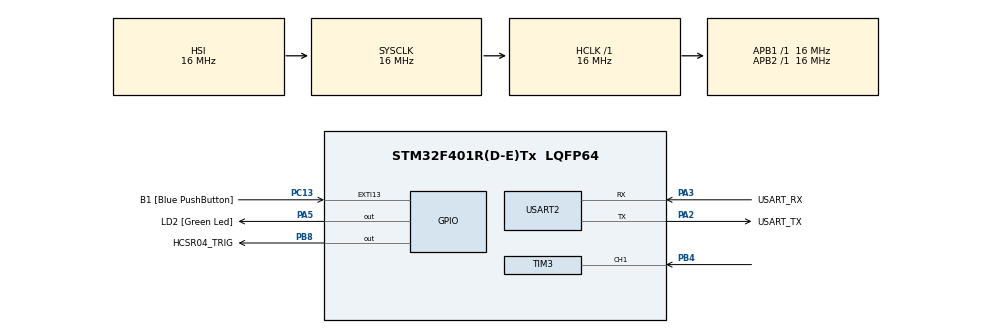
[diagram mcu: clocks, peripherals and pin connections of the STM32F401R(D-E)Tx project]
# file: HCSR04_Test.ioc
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Mcu.Family=STM32F4
Mcu.Name=STM32F401R(D-E)Tx
Mcu.Package=LQFP64
NVIC.PriorityGroup=NVIC_PRIORITYGROUP_4
NVIC.TIM3_IRQn=true\:0\:0\:false\:false\:true\:true\:true\:true
PA13.GPIO_Label=TMS
PA13.Mode=Trace_Asynchronous_SW
PA13.Signal=SYS_JTMS-SWDIO
PA14.GPIO_Label=TCK
PA14.Mode=Trace_Asynchronous_SW
PA14.Signal=SYS_JTCK-SWCLK
PA2.GPIO_Label=USART_TX
PA2.GPIO_Mode=GPIO_MODE_AF_PP
PA2.GPIO_PuPd=GPIO_NOPULL
PA2.GPIO_Speed=GPIO_SPEED_FREQ_LOW
PA2.Mode=Asynchronous
PA2.Signal=USART2_TX
PA3.GPIO_Label=USART_RX
PA3.GPIO_Mode=GPIO_MODE_AF_PP
PA3.GPIO_PuPd=GPIO_NOPULL
PA3.GPIO_Speed=GPIO_SPEED_FREQ_LOW
PA3.Mode=Asynchronous
PA3.Signal=USART2_RX
PA5.GPIO_Label=LD2 [Green Led]
PA5.GPIO_Mode=GPIO_MODE_OUTPUT_PP
PA5.GPIO_PuPd=GPIO_NOPULL
PA5.GPIO_Speed=GPIO_SPEED_FREQ_LOW
PA5.Signal=GPIO_Output
PB3.GPIO_Label=SWO
PB3.Mode=Trace_Asynchronous_SW
PB3.Signal=SYS_JTDO-SWO
PB4.Signal=S_TIM3_CH1
PB8.GPIO_Label=HCSR04_TRIG
PB8.Signal=GPIO_Output
PC13-ANTI_TAMP.GPIO_Label=B1 [Blue PushButton]
PC13-ANTI_TAMP.GPIO_ModeDefaultEXTI=GPIO_MODE_IT_FALLING
PC13-ANTI_TAMP.GPIO_PuPd=GPIO_NOPULL
PC13-ANTI_TAMP.Signal=GPXTI13
PC14-OSC32_IN.Mode=LSE-External-Oscillator
PC14-OSC32_IN.Signal=RCC_OSC32_IN
PC15-OSC32_OUT.Mode=LSE-External-Oscillator
PC15-OSC32_OUT.Signal=RCC_OSC32_OUT
PH0\ -\ OSC_IN.Mode=HSE-External-Clock-Source
PH0\ -\ OSC_IN.Signal=RCC_OSC_IN
PH1\ -\ OSC_OUT.Mode=HSE-External-Clock-Source
PH1\ -\ OSC_OUT.Signal=RCC_OSC_OUT
ProjectManager.HeapSize=0x200
ProjectManager.StackSize=0x400
ProjectManager.TargetToolchain=STM32CubeIDE
RCC.48MHZClocksFreq_Value=48000000
RCC.AHBFreq_Value=16000000
RCC.APB1Freq_Value=16000000
RCC.APB1TimFreq_Value=16000000
RCC.APB2Freq_Value=16000000
RCC.APB2TimFreq_Value=16000000
RCC.CortexFreq_Value=16000000
RCC.HCLKFreq_Value=16000000
RCC.HSE_VALUE=8000000
RCC.HSI_VALUE=16000000
RCC.PLLN=336
RCC.PLLP=RCC_PLLP_DIV4
RCC.PLLQ=7
RCC.SYSCLKFreq_VALUE=16000000
RCC.VCOOutputFreq_Value=336000000
SH.S_TIM3_CH1.0=TIM3_CH1,Input_Capture1_from_TI1
TIM3.Channel-Input_Capture1_from_TI1=TIM_CHANNEL_1
TIM3.ICPolarity_CH1=TIM_INPUTCHANNELPOLARITY_BOTHEDGE
TIM3.Period=65535-1
TIM3.Prescaler=16-1
USART2.VirtualMode=VM_ASYNC
VP_TIM3_VS_ClockSourceINT.Mode=Internal
board=NUCLEO-F401RE

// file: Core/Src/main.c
/* USER CODE BEGIN Header */
/**
  ******************************************************************************
  * @file           : main.c
  * @brief          : Main program body
  ******************************************************************************
  * @attention
  *
  * Copyright (c) 2025 STMicroelectronics.
  * All rights reserved.
  *
  * This software is licensed under terms that can be found in the LICENSE file
  * in the root directory of this software component.
  * If no LICENSE file comes with this software, it is provided AS-IS.
  *
  ******************************************************************************
  */
/* USER CODE END Header */
#include "main.h"

TIM_HandleTypeDef htim3;

UART_HandleTypeDef huart2;

void SystemClock_Config(void);
static void MX_GPIO_Init(void);
static void MX_USART2_UART_Init(void);
static void MX_TIM3_Init(void);

/* USER CODE BEGIN 0 */
volatile uint8_t hcsr04_Rx_flag = 0;
volatile uint8_t first_edge = 0;
volatile uint16_t time_edge1 = 0;
volatile uint16_t time_edge2 = 0;

/* USER CODE END 0 */

int main(void)
{

  /* USER CODE BEGIN 1 */

uint16_t time_diff = 0;
uint16_t distance = 0;
uint8_t txd_msg_buffer[64] = {0};

void HCSR04_TRIG_PULSE(void) {
	HAL_GPIO_WritePin(HCSR04_TRIG_GPIO_Port, HCSR04_TRIG_Pin, GPIO_PIN_SET);
	for (int i = 0; i != 15; i = i + 1) {};
	HAL_GPIO_WritePin(HCSR04_TRIG_GPIO_Port, HCSR04_TRIG_Pin, GPIO_PIN_RESET);
}

  /* USER CODE END 1 */

  /* MCU Configuration--------------------------------------------------------*/

  /* Reset of all peripherals, Initializes the Flash interface and the Systick. */
  HAL_Init();

  /* Configure the system clock */
  SystemClock_Config();

  /* Initialize all configured peripherals */
  MX_GPIO_Init();
  MX_USART2_UART_Init();
  MX_TIM3_Init();
  /* USER CODE BEGIN 2 */
  HAL_TIM_Base_Init(&htim3);
  HAL_TIM_Base_Start(&htim3);
  HAL_TIM_IC_Start_IT(&htim3, TIM_CHANNEL_1);

  /* USER CODE END 2 */

  /* Infinite loop */
  /* USER CODE BEGIN WHILE */
  while (1)
  {
	  hcsr04_Rx_flag = 0;
	  first_edge = 0;
	  time_edge1 = 0;
	  time_edge2 = 0;
	  time_diff = 0;
	  distance = 0;

	  HCSR04_TRIG_PULSE();

	  while (hcsr04_Rx_flag == 0) {};

	  time_diff = time_edge2 - time_edge1;

	  sprintf((char*)txd_msg_buffer, "Pulse Width (usec): %d \r\n", time_diff);
	  HAL_UART_Transmit(&huart2, txd_msg_buffer, strlen((char*)txd_msg_buffer), 100);

	  distance = time_diff/58;

	  sprintf((char*)txd_msg_buffer, "DISTANCE TO OBJECT: %d \r\n", distance);
	  HAL_UART_Transmit(&huart2, txd_msg_buffer, strlen((char*)txd_msg_buffer), 100);

	  HAL_Delay(100);
    /* USER CODE END WHILE */

  }
}

void SystemClock_Config(void)
{
  RCC_OscInitTypeDef RCC_OscInitStruct = {0};
  RCC_ClkInitTypeDef RCC_ClkInitStruct = {0};

  /** Configure the main internal regulator output voltage
  */
  __HAL_RCC_PWR_CLK_ENABLE();
  __HAL_PWR_VOLTAGESCALING_CONFIG(PWR_REGULATOR_VOLTAGE_SCALE2);

  /** Initializes the RCC Oscillators according to the specified parameters
  * in the RCC_OscInitTypeDef structure.
  */
  RCC_OscInitStruct.OscillatorType = RCC_OSCILLATORTYPE_HSI;
  RCC_OscInitStruct.HSIState = RCC_HSI_ON;
  RCC_OscInitStruct.HSICalibrationValue = RCC_HSICALIBRATION_DEFAULT;
  RCC_OscInitStruct.PLL.PLLState = RCC_PLL_NONE;
  if (HAL_RCC_OscConfig(&RCC_OscInitStruct) != HAL_OK)
  {
    Error_Handler();
  }

  /** Initializes the CPU, AHB and APB buses clocks
  */
  RCC_ClkInitStruct.ClockType = RCC_CLOCKTYPE_HCLK|RCC_CLOCKTYPE_SYSCLK
                              |RCC_CLOCKTYPE_PCLK1|RCC_CLOCKTYPE_PCLK2;
  RCC_ClkInitStruct.SYSCLKSource = RCC_SYSCLKSOURCE_HSI;
  RCC_ClkInitStruct.AHBCLKDivider = RCC_SYSCLK_DIV1;
  RCC_ClkInitStruct.APB1CLKDivider = RCC_HCLK_DIV1;
  RCC_ClkInitStruct.APB2CLKDivider = RCC_HCLK_DIV1;

  if (HAL_RCC_ClockConfig(&RCC_ClkInitStruct, FLASH_LATENCY_0) != HAL_OK)
  {
    Error_Handler();
  }
}

static void MX_TIM3_Init(void)
{

  TIM_ClockConfigTypeDef sClockSourceConfig = {0};
  TIM_MasterConfigTypeDef sMasterConfig = {0};
  TIM_IC_InitTypeDef sConfigIC = {0};

  htim3.Instance = TIM3;
  htim3.Init.Prescaler = 16-1;
  htim3.Init.CounterMode = TIM_COUNTERMODE_UP;
  htim3.Init.Period = 65535-1;
  htim3.Init.ClockDivision = TIM_CLOCKDIVISION_DIV1;
  htim3.Init.AutoReloadPreload = TIM_AUTORELOAD_PRELOAD_DISABLE;
  if (HAL_TIM_Base_Init(&htim3) != HAL_OK)
  {
    Error_Handler();
  }
  sClockSourceConfig.ClockSource = TIM_CLOCKSOURCE_INTERNAL;
  if (HAL_TIM_ConfigClockSource(&htim3, &sClockSourceConfig) != HAL_OK)
  {
    Error_Handler();
  }
  if (HAL_TIM_IC_Init(&htim3) != HAL_OK)
  {
    Error_Handler();
  }
  sMasterConfig.MasterOutputTrigger = TIM_TRGO_RESET;
  sMasterConfig.MasterSlaveMode = TIM_MASTERSLAVEMODE_DISABLE;
  if (HAL_TIMEx_MasterConfigSynchronization(&htim3, &sMasterConfig) != HAL_OK)
  {
    Error_Handler();
  }
  sConfigIC.ICPolarity = TIM_INPUTCHANNELPOLARITY_BOTHEDGE;
  sConfigIC.ICSelection = TIM_ICSELECTION_DIRECTTI;
  sConfigIC.ICPrescaler = TIM_ICPSC_DIV1;
  sConfigIC.ICFilter = 0;
  if (HAL_TIM_IC_ConfigChannel(&htim3, &sConfigIC, TIM_CHANNEL_1) != HAL_OK)
  {
    Error_Handler();
  }

}

static void MX_USART2_UART_Init(void)
{

  huart2.Instance = USART2;
  huart2.Init.BaudRate = 115200;
  huart2.Init.WordLength = UART_WORDLENGTH_8B;
  huart2.Init.StopBits = UART_STOPBITS_1;
  huart2.Init.Parity = UART_PARITY_NONE;
  huart2.Init.Mode = UART_MODE_TX_RX;
  huart2.Init.HwFlowCtl = UART_HWCONTROL_NONE;
  huart2.Init.OverSampling = UART_OVERSAMPLING_16;
  if (HAL_UART_Init(&huart2) != HAL_OK)
  {
    Error_Handler();
  }

}

static void MX_GPIO_Init(void)
{
  GPIO_InitTypeDef GPIO_InitStruct = {0};

  /* GPIO Ports Clock Enable */
  __HAL_RCC_GPIOC_CLK_ENABLE();
  __HAL_RCC_GPIOH_CLK_ENABLE();
  __HAL_RCC_GPIOA_CLK_ENABLE();
  __HAL_RCC_GPIOB_CLK_ENABLE();

  /*Configure GPIO pin Output Level */
  HAL_GPIO_WritePin(LD2_GPIO_Port, LD2_Pin, GPIO_PIN_RESET);

  /*Configure GPIO pin Output Level */
  HAL_GPIO_WritePin(HCSR04_TRIG_GPIO_Port, HCSR04_TRIG_Pin, GPIO_PIN_RESET);

  /*Configure GPIO pin : B1_Pin */
  GPIO_InitStruct.Pin = B1_Pin;
  GPIO_InitStruct.Mode = GPIO_MODE_IT_FALLING;
  GPIO_InitStruct.Pull = GPIO_NOPULL;
  HAL_GPIO_Init(B1_GPIO_Port, &GPIO_InitStruct);

  /*Configure GPIO pin : LD2_Pin */
  GPIO_InitStruct.Pin = LD2_Pin;
  GPIO_InitStruct.Mode = GPIO_MODE_OUTPUT_PP;
  GPIO_InitStruct.Pull = GPIO_NOPULL;
  GPIO_InitStruct.Speed = GPIO_SPEED_FREQ_LOW;
  HAL_GPIO_Init(LD2_GPIO_Port, &GPIO_InitStruct);

  /*Configure GPIO pin : HCSR04_TRIG_Pin */
  GPIO_InitStruct.Pin = HCSR04_TRIG_Pin;
  GPIO_InitStruct.Mode = GPIO_MODE_OUTPUT_PP;
  GPIO_InitStruct.Pull = GPIO_NOPULL;
  GPIO_InitStruct.Speed = GPIO_SPEED_FREQ_LOW;
  HAL_GPIO_Init(HCSR04_TRIG_GPIO_Port, &GPIO_InitStruct);

}

/* USER CODE BEGIN 4 */

void HAL_TIM_IC_CaptureCallback(TIM_HandleTypeDef *htim) {
	if (htim -> Instance == TIM3) {
		if (htim -> Channel == HAL_TIM_ACTIVE_CHANNEL_1) {
			if (first_edge == 0) {
				time_edge1 = HAL_TIM_ReadCapturedValue(htim, TIM_CHANNEL_1);
				first_edge = 1;
			}
			else {
				time_edge2 = HAL_TIM_ReadCapturedValue(htim, TIM_CHANNEL_1);
				__HAL_TIM_SET_COUNTER(htim, 0);
				hcsr04_Rx_flag = 1;
			}
		}
	}
}

/* USER CODE END 4 */

void Error_Handler(void)
{
  __disable_irq();
  while (1)
  {
  }
}
